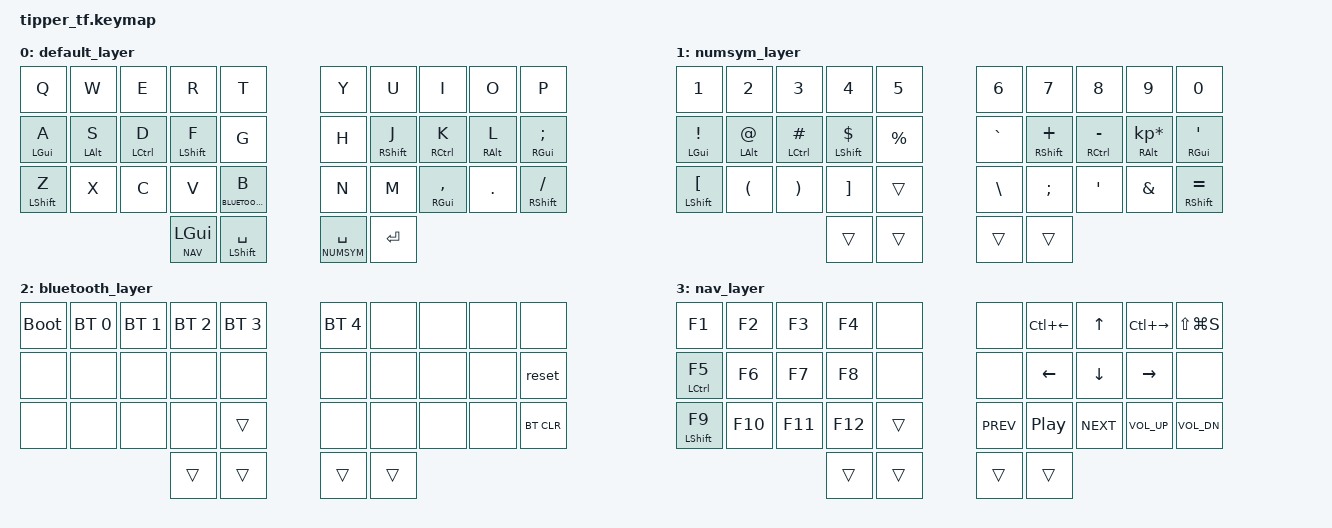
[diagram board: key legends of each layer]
#include <behaviors.dtsi>
#include <dt-bindings/zmk/keys.h>
#include <dt-bindings/zmk/bt.h>
#include <dt-bindings/zmk/outputs.h>

#define DEFAULT 	0
#define NUMSYM 		1
#define BLUETOOTH	2
#define NAV	        3

#define screenshot LS(LG(S))

//Combos 

#define COMBO(NAME, BINDINGS, KEYPOS) \
  combo_##NAME { \
    timeout-ms = <50>; \
    bindings = <BINDINGS>; \
    key-positions = <KEYPOS>; \
  };

&mt {
  flavor = "tap-preferred";
  //tapping_term_ms = <200>;
};

/  {
    combos {
        compatible = "zmk,combos";


         COMBO(escape, &kp ESCAPE, 0 1)
	 COMBO(tab, &kp TAB, 1 2)
         COMBO(backspace, &kp BACKSPACE, 11 12)
	 COMBO(del, &kp DELETE, 7 8)
	 COMBO(enter, &kp ENTER, 10 11)
         COMBO(quote, &kp APOSTROPHE, 25 26)
         COMBO(minus, &kp MINUS, 21 22)
         COMBO(less, &kp LESS_THAN, 15 16)
         COMBO(more, &kp GREATER_THAN, 17 18)
         COMBO(score, &kp UNDER, 26 27)
         COMBO(slash, &kp BACKSLASH, 8 9)
	 COMBO(caps, &kp CAPS, 13 16)
         COMBO(btc, &bt BT_CLR, 0 29)
};

//Custom tap hold behavior 


        behaviors {
        am: alpha_mods {
            compatible = "zmk,behavior-hold-tap";
            label = "ALPHA_MODS";
            #binding-cells = <2>;
            tapping_term_ms = <200>;
            flavor = "tap-preferred";
            bindings = <&kp>, <&kp>;
        };
    };

/*
Default
	.------------------------------------------------------------------------.
	|  Q  |  W  |  E  |  R  |  T  |          |  Y    |  U  |  I  |  O  |  P  |
	|  A  |  S  |  D  |  F  |  G  |          |  H    |  J  |  K  |  L  |  ;  |
	|  Z  |  X  |  C  |  V  |  B* |          |  N    |  M  |  ,  |  .  |  /  |
	'-----------------\ nav | SFT |          | Sp/nm | ENT /-----------------'
	                   '----------------------------------'
Homerow mods
	.------------------------------------------------------------------------.
	|     |     |     |     |     |          |       |     |     |     |     |
	|lgui |lalt |lctl |lsft |     |          |       |rsft |rctl |ralt |rgui |
	|     |     |     |     |     |          |       |     |     |     |     |
	'-----------------\ nav | SFT |          | Sp/nm | ENT /-----------------'
	                   '----------------------------------'

Combos
	.------------------------------------------------------------------------.
	|  0  |  1  |  2  |  3  |  4  |          |  5    |  6  |  7  |  8  |  9  |
	|  10 |  11 |  12 |  13 |  14 |          |  15   |  16 |  17 |  18 |  19 |
	|  20 |  21 |  22 |  23 |  24 |          |  25   |  26 |  27 |  28 |  29 |
	'-----------------\  30 |  31 |          |  32   |  33 /-----------------'
	                   '----------------------------------'

Numbers and symbols
	.------------------------------------------------------------------------.
	|  1  |  2  |  3  |  4  |  5  |          |  6    |  7  |  8  |  9  |  0  |
	|  !  |  @  |  #  |  $  |  %  |          |  `    |  +  |  -  |  *  |  '  |
	|  [  |  (  |  )  |  ]  |     |          |  \    |  ;  |  '  |  &  |  =  |
	'-----------------\ nav | SFT |          | Sp/nm | ENT /-----------------'
	                   '----------------------------------'

Bluetooth *
	.------------------------------------------------------------------------.
	| BL  | BT0 | BT1 | BT2 | BT3 |     	 | BT4   |     |     |     |     |
	|     |     |     |     |     |     	 |       |     |     |     | RST |
	|     |     |     |     |     |          |       |     |     |	   | CLR |
	'-----------------\ nav | SFT |          | Sp/nm | ENT /-----------------'
	                   '----------------------------------'

Navigation
	.------------------------------------------------------------------------.
	| F1  | F2  | F3  | F4  |     |          |       | ← ← |  ↑  | → → | ScS |
	| F5  | F6  | F7  | F8  |     |          |       |  ←  |  ↓  |  →  |     |
	| F9  | F10 | F11 | F12 |     |          | MPR   | MPP | MNX | MVU | MVD |
	'-----------------\ nav | SFT |          | Sp/nm | ENT /-----------------'
	                   '----------------------------------'
*/


	keymap {
		compatible = "zmk,keymap";
		
		default_layer {
			bindings = <
	&kp Q            &kp W         &kp E         &kp R         &kp T            &kp Y            &kp U            &kp I            &kp O            &kp P
        &am LGUI A       &am LALT S    &am LCTRL D   &am LSHFT F   &kp G            &kp H            &am RSHFT J      &am RCTRL K      &am RALT L       &am RGUI SEMI
	&am LSHFT Z      &kp X         &kp C         &kp V         &lt BLUETOOTH B  &kp N            &kp M            &am RGUI CMMA    &kp DOT          &am RSHFT SLASH   
                                                     &lt NAV LGUI  &mt LSHFT SPACE  &lt NUMSYM SPACE &kp ENTER  
			>;
		};
		numsym_layer {
			bindings = <
	&kp N1           &kp N2        &kp N3        &kp N4        &kp N5           &kp N6           &kp N7           &kp N8           &kp N9           &kp N0   
	&am LGUI EXCL    &am LALT AT   &am LCTRL HASH &am LSHFT DLLR &kp PERCENT    &kp GRAVE        &am RSHFT PLUS   &am RCTRL MINUS  &am RALT KP_ASTERISK &am RGUI SQT
	&am LSHFT LBKT   &kp LPAR      &kp RPAR      &kp RBKT      &trans           &kp BACKSLASH    &kp SEMICOLON    &kp SQT          &kp AMPERSAND    &am RSHFT EQUAL         
                                                 &trans        &trans           &trans           &trans
			>;
		};
		bluetooth_layer {
			bindings = <
	&bootloader      &bt BT_SEL 0  &bt BT_SEL 1  &bt BT_SEL 2  &bt BT_SEL 3     &bt BT_SEL 4     &none           &none             &none            &none
	&none            &none         &none         &none         &none            &none            &none           &none             &none            &reset
	&none            &none         &none         &none         &trans           &none            &none           &none             &none            &bt BT_CLR
                                                 &trans        &trans           &trans           &trans  
			>;
		};
		nav_layer {
			bindings = <
	&kp F1           &kp F2        &kp F3        &kp F4        &none            &none            &kp LC(LEFT)     &kp UP           &kp LC(RIGHT)    &kp screenshot   
	&am LCTRL F5     &kp F6        &kp F7        &kp F8        &none            &none            &kp LEFT         &kp DOWN         &kp RIGHT        &none
	&am LSHFT F9     &kp F10       &kp F11       &kp F12       &trans           &kp C_PREV       &kp C_PP         &kp C_NEXT       &kp C_VOL_UP     &kp C_VOL_DN    
                                                 &trans        &trans           &trans           &trans   
			>;
		};
	};
};
